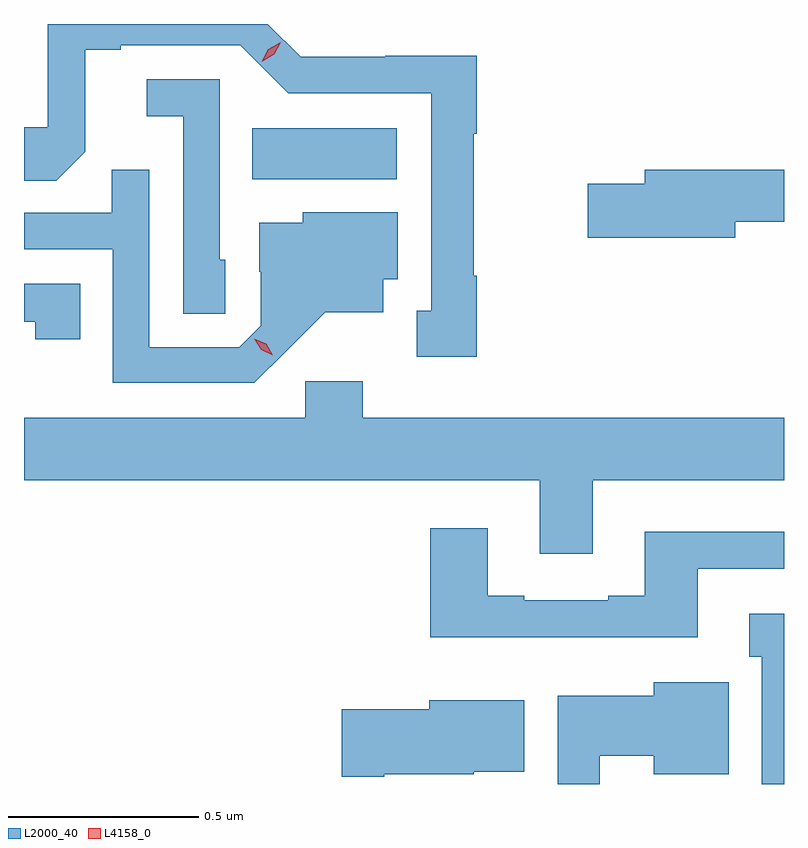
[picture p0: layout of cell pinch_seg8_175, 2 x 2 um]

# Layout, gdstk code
import gdstk
lib = gdstk.Library(unit=1e-6, precision=1e-09)
def R(c, l, rs):  # rectangles x0, y0, x1, y1
    for r in rs: c.add(gdstk.rectangle(r[:2], r[2:], *l))
def P(c, l, *ps):  # polygons
    for p in ps: c.add(gdstk.Polygon(p, *l))
L2000_40 = (2000, 40)
L4158_0 = (4158, 0)

pinch_seg8_175 = lib.new_cell('pinch_seg8_175')
R(pinch_seg8_175, L2000_40, [(694.588,1146.596,694.969,1146.73)])
P(pinch_seg8_175, L2000_40, [(695.179,1146.341),(695.171,1146.341),(695.171,1146.715),(695.179,1146.715),(695.179,1146.92),(694.938,1146.92),(694.938,1146.918),(694.716,1146.918),(694.63,1147.004),(694.05,1147.004),(694.05,1146.732),(693.988,1146.732),(693.988,1146.592),(694.073,1146.592),(694.149,1146.668),(694.149,1146.936),(694.243,1146.936),(694.243,1146.948),(694.557,1146.948),(694.683,1146.822),(695.06,1146.822),(695.06,1146.249),(695.021,1146.249),(695.021,1146.129),(695.179,1146.129)],
  [(694.518,1146.384),(694.503,1146.384),(694.503,1146.858),(694.311,1146.858),(694.311,1146.761),(694.407,1146.761),(694.407,1146.241),(694.518,1146.241)],
  [(694.678,1146.143),(694.781,1146.245),(694.933,1146.245),(694.933,1146.332),(694.972,1146.332),(694.972,1146.508),(694.722,1146.508),(694.722,1146.481),(694.607,1146.481),(694.607,1146.352),(694.611,1146.352),(694.611,1146.21),(694.554,1146.153),(694.317,1146.153),(694.317,1146.62),(694.219,1146.62),(694.219,1146.507),(693.988,1146.507),(693.988,1146.411),(694.221,1146.411),(694.221,1146.06),(694.594,1146.06)],
  [(695.86,1146.484),(695.988,1146.484),(695.988,1146.62),(695.621,1146.62),(695.621,1146.584),(695.472,1146.584),(695.472,1146.442),(695.86,1146.442)],
  [(694.136,1146.321),(693.988,1146.321),(693.988,1146.22),(694.018,1146.22),(694.018,1146.174),(694.136,1146.174)],
  [(695.485,1145.804),(695.988,1145.804),(695.988,1145.968),(694.88,1145.968),(694.88,1146.064),(694.728,1146.064),(694.728,1145.968),(693.988,1145.968),(693.988,1145.804),(695.345,1145.804),(695.345,1145.61),(695.485,1145.61)],
  [(695.761,1145.571),(695.988,1145.571),(695.988,1145.668),(695.621,1145.668),(695.621,1145.5),(695.525,1145.5),(695.525,1145.487),(695.305,1145.487),(695.305,1145.5),(695.209,1145.5),(695.209,1145.677),(695.057,1145.677),(695.057,1145.39),(695.761,1145.39)],
  [(695.988,1145.452),(695.897,1145.452),(695.897,1145.339),(695.93,1145.339),(695.93,1145.004),(695.988,1145.004)],
  [(695.503,1145.078),(695.645,1145.078),(695.645,1145.03),(695.842,1145.03),(695.842,1145.272),(695.645,1145.272),(695.645,1145.236),(695.393,1145.236),(695.393,1145.004),(695.503,1145.004)],
  [(694.936,1145.03),(695.172,1145.03),(695.172,1145.036),(695.305,1145.036),(695.305,1145.224),(695.054,1145.224),(695.054,1145.201),(694.824,1145.201),(694.824,1145.023),(694.936,1145.023)])
P(pinch_seg8_175, L4158_0, [(694.614,1146.905),(694.614,1146.905),(694.631,1146.937),(694.663,1146.956),(694.663,1146.956),(694.663,1146.956),(694.646,1146.924),(694.614,1146.905)],
  [(694.642,1146.132),(694.612,1146.147),(694.594,1146.176),(694.594,1146.176),(694.594,1146.176),(694.625,1146.162),(694.642,1146.132),(694.642,1146.132)])

lib.write_gds('pinch_seg8_175.gds')
